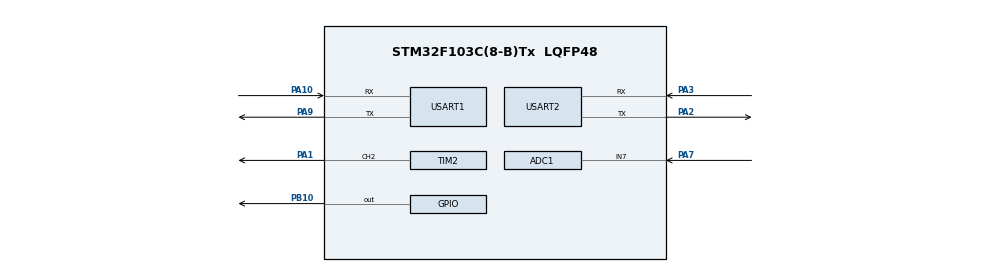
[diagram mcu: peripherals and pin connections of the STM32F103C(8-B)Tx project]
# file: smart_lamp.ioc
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ADC1.Channel-2\#ChannelRegularConversion=ADC_CHANNEL_7
ADC1.NbrOfConversionFlag=1
ADC1.Rank-2\#ChannelRegularConversion=1
ADC1.SamplingTime-2\#ChannelRegularConversion=ADC_SAMPLETIME_1CYCLE_5
ADC1.master=1
FREERTOS.Tasks01=defaultTask,0,128,StartDefaultTask,Default,NULL,Dynamic,NULL,NULL;UARTTask,0,128,StartUARTTask,Default,NULL,Dynamic,NULL,NULL
FREERTOS.configUSE_NEWLIB_REENTRANT=1
Mcu.Family=STM32F1
Mcu.Name=STM32F103C(8-B)Tx
Mcu.Package=LQFP48
NVIC.PriorityGroup=NVIC_PRIORITYGROUP_4
NVIC.TIM1_UP_IRQn=true\:15\:0\:false\:false\:true\:false\:false\:true\:true
NVIC.TimeBase=TIM1_UP_IRQn
NVIC.TimeBaseIP=TIM1
PA1.Signal=S_TIM2_CH2
PA10.Mode=Asynchronous
PA10.Signal=USART1_RX
PA2.Mode=Asynchronous
PA2.Signal=USART2_TX
PA3.Mode=Asynchronous
PA3.Signal=USART2_RX
PA7.Signal=ADCx_IN7
PA9.Mode=Asynchronous
PA9.Signal=USART1_TX
PB10.Signal=GPIO_Output
ProjectManager.HeapSize=0x200
ProjectManager.StackSize=0x400
ProjectManager.TargetToolchain=STM32CubeIDE
RCC.APB1Freq_Value=8000000
RCC.APB2Freq_Value=8000000
SH.ADCx_IN7.0=ADC1_IN7,IN7
SH.S_TIM2_CH2.0=TIM2_CH2,PWM Generation2 CH2
TIM2.Channel-PWM\ Generation2\ CH2=TIM_CHANNEL_2
TIM2.Period=625
TIM2.Prescaler=127
USART1.VirtualMode=VM_ASYNC
USART2.VirtualMode=VM_ASYNC
VP_FREERTOS_VS_CMSIS_V1.Mode=CMSIS_V1
VP_SYS_VS_ND.Mode=No_Debug
VP_SYS_VS_tim1.Mode=TIM1
VP_TIM2_VS_ClockSourceINT.Mode=Internal
board=custom

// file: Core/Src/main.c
/* USER CODE BEGIN Header */
/**
 ******************************************************************************
 * @file           : main.c
 * @brief          : Main program body
 ******************************************************************************
 * @attention
 *
 * Copyright (c) 2024 STMicroelectronics.
 * All rights reserved.
 *
 * This software is licensed under terms that can be found in the LICENSE file
 * in the root directory of this software component.
 * If no LICENSE file comes with this software, it is provided AS-IS.
 *
 ******************************************************************************
 */
/* USER CODE END Header */
#include "main.h"
#include "cmsis_os.h"
#include <stdio.h>
#include <string.h>
#include "cJSON.h"

/* USER CODE BEGIN PD */
#define SERVER_IP "192.168.0.106"
#define SSID "TP-Link_82F6"
#define PASS "48067706"
#define ADC_RESOLUTION 4096
#define VREF 3.3

/* USER CODE END PD */

ADC_HandleTypeDef hadc1;

TIM_HandleTypeDef htim2;

UART_HandleTypeDef huart1;
UART_HandleTypeDef huart2;

osThreadId defaultTaskHandle;
osThreadId UARTTaskHandle;

void SystemClock_Config(void);
static void MX_GPIO_Init(void);
static void MX_USART1_UART_Init(void);
static void MX_USART2_UART_Init(void);
static void MX_ADC1_Init(void);
static void MX_TIM2_Init(void);
void StartDefaultTask(void const * argument);
void StartUARTTask(void const * argument);

/* USER CODE BEGIN PFP */
char rxBuffer[2000];
char connectCmd[100];
char tempBuff[200];
char jsonBuff[500];
uint8_t ATisOK;

volatile int _power_state = 0;
volatile int _previous_brightness = -1;
volatile int _brightness = 0;
volatile int _mode = 0;

/* USER CODE END PFP */

/* USER CODE BEGIN 0 */
// Глобальний буфер для прийому
char uartBuffer[1024];
volatile uint16_t uartIndex = 0;
volatile uint8_t uartReceivedFlag = 0;

void sendCommand(const char *cmd) {

    HAL_UART_Transmit(&huart2, (uint8_t *)cmd, strlen(cmd), HAL_MAX_DELAY);
    HAL_Delay(100);
}

void connectToWiFi() {
    char connectCmd[128];

    snprintf(connectCmd, sizeof(connectCmd), "AT+CWJAP=\"%s\",\"%s\"\r\n", SSID, PASS);
    sendCommand(connectCmd);
    HAL_Delay(5000);
}

void sendGETRequest() {
    snprintf(connectCmd, sizeof(connectCmd), "AT+CIPSTART=\"TCP\",\"%s\",5000\r\n", SERVER_IP);
    HAL_UART_Transmit(&huart2, (uint8_t *)connectCmd, strlen(connectCmd), HAL_MAX_DELAY);

    snprintf(connectCmd, sizeof(connectCmd),
             "GET /jsonrequest HTTP/1.1\r\nHost: %s\r\n\r\n", SERVER_IP);

    snprintf(tempBuff, sizeof(tempBuff), "AT+CIPSEND=%d\r\n", strlen(connectCmd));
    HAL_UART_Transmit(&huart2, (uint8_t *)tempBuff, strlen(tempBuff), HAL_MAX_DELAY);
    HAL_Delay(100);

    HAL_UART_Transmit(&huart2, (uint8_t *)connectCmd, strlen(connectCmd), HAL_MAX_DELAY);
	HAL_UART_Receive(&huart2, rxBuffer, 2000, 300);

	memset(jsonBuff, 0, sizeof(jsonBuff));

    int start = 0;
    int jsonIndex = 0;
    for(int i = 0; i < 2000; i++) {
    	if(rxBuffer[i] == '{') start = 1;
    	if(start) {
    		jsonBuff[jsonIndex] = rxBuffer[i];
    	    //HAL_UART_Transmit(&huart1, (uint8_t *)jsonBuff[jsonIndex], 1, HAL_MAX_DELAY);
    	    jsonIndex++;
    	}
    	if(rxBuffer[i] == '}') break;
    }

    UART_Send_String("Response from server:\r\n");
    UART_Send_String(jsonBuff);

    cJSON *json = cJSON_Parse(jsonBuff);
       if (json == NULL) {
           const char *error_ptr = cJSON_GetErrorPtr();
           if (error_ptr != NULL) {
           }
           cJSON_Delete(json);
       }

       // access the JSON data

       cJSON *mode = cJSON_GetObjectItemCaseSensitive(json, "mode");
       _mode = mode->valueint;

       cJSON *power_state = cJSON_GetObjectItemCaseSensitive(json, "power_state");
       _power_state = power_state->valueint;

       cJSON *brightness = cJSON_GetObjectItemCaseSensitive(json, "brightness");
       if((brightness->valueint <= 100) && (brightness->valueint >= 0)) {
    	   _previous_brightness = _brightness;
       	   _brightness = brightness->valueint;
       }

       // delete the JSON object
       cJSON_Delete(json);
}

void sendPostRequest(const char *value) {
    char connectCmd[128];
    char postRequest[256];
    char body[128];
    int contentLength;

    // Формуємо тіло запиту
    snprintf(body, sizeof(body), "obtained=%s", value);
    contentLength = strlen(body);

    // Формуємо повний HTTP-запит
    snprintf(postRequest, sizeof(postRequest),
             "POST /lamps/1/schedules HTTP/1.1\r\n"
             "Host: %s\r\n"
             "Content-Type: text/plain\r\n"
             "Content-Length: %d\r\n\r\n"
             "%s",
             SERVER_IP, contentLength, body);

    // Формуємо команду для підключення
    snprintf(connectCmd, sizeof(connectCmd), "AT+CIPSTART=\"TCP\",\"%s\",5000\r\n", SERVER_IP);
    sendCommand(connectCmd);
    HAL_Delay(1000);

    // Надсилаємо AT-команду для початку передачі
    char cipSendCmd[32];
    snprintf(cipSendCmd, sizeof(cipSendCmd), "AT+CIPSEND=%d\r\n", strlen(postRequest));
    sendCommand(cipSendCmd);
    HAL_Delay(100);

    // Надсилаємо запит
    sendCommand(postRequest);
}

float Read_ADC_To_Volts(ADC_HandleTypeDef* hadc) {
    //char voltageString[20]; // Буфер для збереження рядка
    uint32_t adcValue;
    float voltage;

    // Запускаємо ADC
    HAL_ADC_Start(hadc);

    // Чекаємо завершення конверсії
    if (HAL_ADC_PollForConversion(hadc, HAL_MAX_DELAY) == HAL_OK) {
        // Отримуємо значення ADC
        adcValue = HAL_ADC_GetValue(hadc);

        // Перетворюємо значення ADC у вольти
        voltage = (adcValue * VREF) / ADC_RESOLUTION;

        // Форматуємо результат у рядок
        //snprintf(voltageString, sizeof(voltageString), "%.2f V", voltage);
    }

    // Зупиняємо ADC
    HAL_ADC_Stop(hadc);

    return voltage;
}

// Функція для надсилання повідомлення через UART
void UART_Send_String(char *str) {
    HAL_UART_Transmit(&huart1, (uint8_t *)str, strlen(str), HAL_MAX_DELAY);
}
/* USER CODE END 0 */

int main(void)
{

  /* MCU Configuration--------------------------------------------------------*/

  /* Reset of all peripherals, Initializes the Flash interface and the Systick. */
  HAL_Init();

  /* Configure the system clock */
  SystemClock_Config();

  /* Initialize all configured peripherals */
  MX_GPIO_Init();
  MX_USART1_UART_Init();
  MX_USART2_UART_Init();
  MX_ADC1_Init();
  MX_TIM2_Init();
  /* USER CODE BEGIN 2 */

//  UART_Send_String("Connecting to Wi-Fi\n");
//  connectToWiFi();
//  //receiveResponse();
//  UART_Send_String("Sending GET request\n");
//  sendGETRequest();
//  //receiveResponse();
//  UART_Send_String("Sending POST request\n");
//  sendPostRequest("Amogus");
  //receiveResponse();

  /* USER CODE END 2 */

  /* Create the thread(s) */
  /* definition and creation of defaultTask */
  osThreadDef(defaultTask, StartDefaultTask, osPriorityNormal, 0, 128);
  defaultTaskHandle = osThreadCreate(osThread(defaultTask), NULL);

  /* definition and creation of UARTTask */
  osThreadDef(UARTTask, StartUARTTask, osPriorityNormal, 0, 128);
  UARTTaskHandle = osThreadCreate(osThread(UARTTask), NULL);

  /* Start scheduler */
  osKernelStart();

  /* We should never get here as control is now taken by the scheduler */

  /* Infinite loop */
  while (1)
  {

  }
}

void SystemClock_Config(void)
{
  RCC_OscInitTypeDef RCC_OscInitStruct = {0};
  RCC_ClkInitTypeDef RCC_ClkInitStruct = {0};
  RCC_PeriphCLKInitTypeDef PeriphClkInit = {0};

  /** Initializes the RCC Oscillators according to the specified parameters
  * in the RCC_OscInitTypeDef structure.
  */
  RCC_OscInitStruct.OscillatorType = RCC_OSCILLATORTYPE_HSI;
  RCC_OscInitStruct.HSIState = RCC_HSI_ON;
  RCC_OscInitStruct.HSICalibrationValue = RCC_HSICALIBRATION_DEFAULT;
  RCC_OscInitStruct.PLL.PLLState = RCC_PLL_NONE;
  if (HAL_RCC_OscConfig(&RCC_OscInitStruct) != HAL_OK)
  {
    Error_Handler();
  }

  /** Initializes the CPU, AHB and APB buses clocks
  */
  RCC_ClkInitStruct.ClockType = RCC_CLOCKTYPE_HCLK|RCC_CLOCKTYPE_SYSCLK
                              |RCC_CLOCKTYPE_PCLK1|RCC_CLOCKTYPE_PCLK2;
  RCC_ClkInitStruct.SYSCLKSource = RCC_SYSCLKSOURCE_HSI;
  RCC_ClkInitStruct.AHBCLKDivider = RCC_SYSCLK_DIV1;
  RCC_ClkInitStruct.APB1CLKDivider = RCC_HCLK_DIV1;
  RCC_ClkInitStruct.APB2CLKDivider = RCC_HCLK_DIV1;

  if (HAL_RCC_ClockConfig(&RCC_ClkInitStruct, FLASH_LATENCY_0) != HAL_OK)
  {
    Error_Handler();
  }
  PeriphClkInit.PeriphClockSelection = RCC_PERIPHCLK_ADC;
  PeriphClkInit.AdcClockSelection = RCC_ADCPCLK2_DIV2;
  if (HAL_RCCEx_PeriphCLKConfig(&PeriphClkInit) != HAL_OK)
  {
    Error_Handler();
  }
}

static void MX_ADC1_Init(void)
{

  ADC_ChannelConfTypeDef sConfig = {0};

  /** Common config
  */
  hadc1.Instance = ADC1;
  hadc1.Init.ScanConvMode = ADC_SCAN_DISABLE;
  hadc1.Init.ContinuousConvMode = DISABLE;
  hadc1.Init.DiscontinuousConvMode = DISABLE;
  hadc1.Init.ExternalTrigConv = ADC_SOFTWARE_START;
  hadc1.Init.DataAlign = ADC_DATAALIGN_RIGHT;
  hadc1.Init.NbrOfConversion = 1;
  if (HAL_ADC_Init(&hadc1) != HAL_OK)
  {
    Error_Handler();
  }

  /** Configure Regular Channel
  */
  sConfig.Channel = ADC_CHANNEL_7;
  sConfig.Rank = ADC_REGULAR_RANK_1;
  sConfig.SamplingTime = ADC_SAMPLETIME_1CYCLE_5;
  if (HAL_ADC_ConfigChannel(&hadc1, &sConfig) != HAL_OK)
  {
    Error_Handler();
  }

}

static void MX_TIM2_Init(void)
{

  TIM_ClockConfigTypeDef sClockSourceConfig = {0};
  TIM_MasterConfigTypeDef sMasterConfig = {0};
  TIM_OC_InitTypeDef sConfigOC = {0};

  htim2.Instance = TIM2;
  htim2.Init.Prescaler = 127;
  htim2.Init.CounterMode = TIM_COUNTERMODE_UP;
  htim2.Init.Period = 625;
  htim2.Init.ClockDivision = TIM_CLOCKDIVISION_DIV1;
  htim2.Init.AutoReloadPreload = TIM_AUTORELOAD_PRELOAD_DISABLE;
  if (HAL_TIM_Base_Init(&htim2) != HAL_OK)
  {
    Error_Handler();
  }
  sClockSourceConfig.ClockSource = TIM_CLOCKSOURCE_INTERNAL;
  if (HAL_TIM_ConfigClockSource(&htim2, &sClockSourceConfig) != HAL_OK)
  {
    Error_Handler();
  }
  if (HAL_TIM_PWM_Init(&htim2) != HAL_OK)
  {
    Error_Handler();
  }
  sMasterConfig.MasterOutputTrigger = TIM_TRGO_RESET;
  sMasterConfig.MasterSlaveMode = TIM_MASTERSLAVEMODE_DISABLE;
  if (HAL_TIMEx_MasterConfigSynchronization(&htim2, &sMasterConfig) != HAL_OK)
  {
    Error_Handler();
  }
  sConfigOC.OCMode = TIM_OCMODE_PWM1;
  sConfigOC.Pulse = 0;
  sConfigOC.OCPolarity = TIM_OCPOLARITY_HIGH;
  sConfigOC.OCFastMode = TIM_OCFAST_DISABLE;
  if (HAL_TIM_PWM_ConfigChannel(&htim2, &sConfigOC, TIM_CHANNEL_2) != HAL_OK)
  {
    Error_Handler();
  }
  HAL_TIM_MspPostInit(&htim2);

}

static void MX_USART1_UART_Init(void)
{

  huart1.Instance = USART1;
  huart1.Init.BaudRate = 115200;
  huart1.Init.WordLength = UART_WORDLENGTH_8B;
  huart1.Init.StopBits = UART_STOPBITS_1;
  huart1.Init.Parity = UART_PARITY_NONE;
  huart1.Init.Mode = UART_MODE_TX_RX;
  huart1.Init.HwFlowCtl = UART_HWCONTROL_NONE;
  huart1.Init.OverSampling = UART_OVERSAMPLING_16;
  if (HAL_UART_Init(&huart1) != HAL_OK)
  {
    Error_Handler();
  }

}

static void MX_USART2_UART_Init(void)
{

  huart2.Instance = USART2;
  huart2.Init.BaudRate = 115200;
  huart2.Init.WordLength = UART_WORDLENGTH_8B;
  huart2.Init.StopBits = UART_STOPBITS_1;
  huart2.Init.Parity = UART_PARITY_NONE;
  huart2.Init.Mode = UART_MODE_TX_RX;
  huart2.Init.HwFlowCtl = UART_HWCONTROL_NONE;
  huart2.Init.OverSampling = UART_OVERSAMPLING_16;
  if (HAL_UART_Init(&huart2) != HAL_OK)
  {
    Error_Handler();
  }

}

static void MX_GPIO_Init(void)
{
  GPIO_InitTypeDef GPIO_InitStruct = {0};

  /* GPIO Ports Clock Enable */
  __HAL_RCC_GPIOA_CLK_ENABLE();
  __HAL_RCC_GPIOB_CLK_ENABLE();

  /*Configure GPIO pin Output Level */
  HAL_GPIO_WritePin(GPIOB, GPIO_PIN_10, GPIO_PIN_RESET);

  /*Configure GPIO pin : PB10 */
  GPIO_InitStruct.Pin = GPIO_PIN_10;
  GPIO_InitStruct.Mode = GPIO_MODE_OUTPUT_PP;
  GPIO_InitStruct.Pull = GPIO_NOPULL;
  GPIO_InitStruct.Speed = GPIO_SPEED_FREQ_LOW;
  HAL_GPIO_Init(GPIOB, &GPIO_InitStruct);

}

void StartDefaultTask(void const * argument)
{
  /* USER CODE BEGIN 5 */
	float voltage = 0;
	HAL_TIM_PWM_Start(&htim2, TIM_CHANNEL_2);
  /* Infinite loop */
  for(;;)
  {

	  if(_mode == 1) {

		  voltage = Read_ADC_To_Volts(&hadc1);
		  (voltage >= 2.75f) ? __HAL_TIM_SET_COMPARE(&htim2,TIM_CHANNEL_2, 0) : __HAL_TIM_SET_COMPARE(&htim2,TIM_CHANNEL_2, 620);
		  osDelay(100);
	  } else if(_mode == 0) {
		  if(_power_state) {
			  if(_brightness != _previous_brightness) {
				  int inc = 0;
				  _brightness > _previous_brightness ? (inc = 1) : (inc = -1);

				  for(int i = _previous_brightness; i != _brightness; i += inc) {
					  __HAL_TIM_SET_COMPARE(&htim2,TIM_CHANNEL_2, i * 6);

					    snprintf(tempBuff, sizeof(tempBuff), "B=%d\r\n", i);

					  UART_Send_String(tempBuff);
					  osDelay(20);
				  }
			  } else {
				  __HAL_TIM_SET_COMPARE(&htim2,TIM_CHANNEL_2, _brightness * 6);
			  }
		  } else {
			  __HAL_TIM_SET_COMPARE(&htim2,TIM_CHANNEL_2, 0);
		  }
	  }
	  osDelay(100);
  }
  /* USER CODE END 5 */
}

void StartUARTTask(void const * argument)
{
  /* USER CODE BEGIN StartUARTTask */
	int attempt = 1;

	UART_Send_String("Connecting to Wi-Fi\r\n");
	snprintf(tempBuff, sizeof(tempBuff), "SSID: %s\r\nPassword: %s\r\n", SSID, PASS);
	UART_Send_String(tempBuff);

	snprintf(connectCmd, sizeof(connectCmd), "AT+CWJAP=\"%s\",\"%s\"\r\n", SSID, PASS);

	ATisOK = 0;
	while(!ATisOK) {
		snprintf(tempBuff, sizeof(tempBuff), "Attempt number: %d\r\n", attempt);
		UART_Send_String(tempBuff);
		memset(rxBuffer, 0, sizeof(rxBuffer));
		HAL_UART_Transmit(&huart2, (uint8_t *)connectCmd, strlen(connectCmd), 1000);
		HAL_UART_Receive(&huart2, rxBuffer, 2000, 2000);

		if(strstr((char *)rxBuffer,"OK")){
		      ATisOK = 1;
		}

		osDelay(500);
		attempt++;
	}

	UART_Send_String("Connecting to Wi-Fi is successful!\r\n");

  /* Infinite loop */
  for(;;)
  {
	sendGETRequest();
    osDelay(100);
  }
  /* USER CODE END StartUARTTask */
}

void HAL_TIM_PeriodElapsedCallback(TIM_HandleTypeDef *htim)
{
  if (htim->Instance == TIM1) {
    HAL_IncTick();
  }
}

void Error_Handler(void)
{
  __disable_irq();
  while (1)
  {
  }
}
